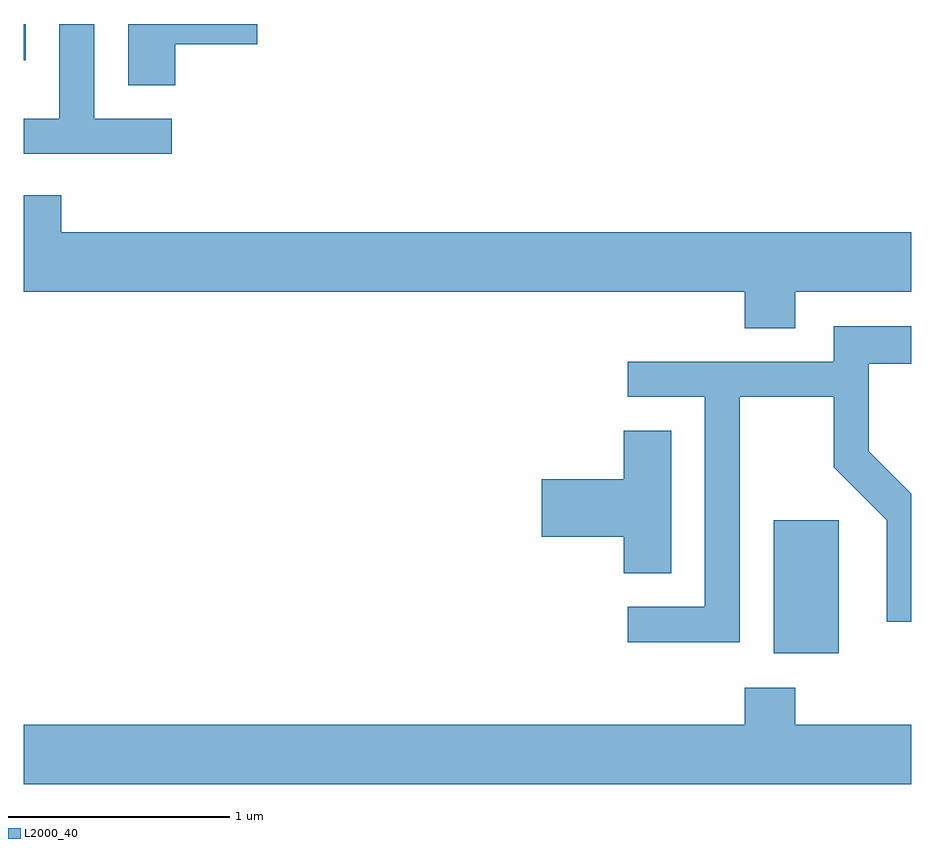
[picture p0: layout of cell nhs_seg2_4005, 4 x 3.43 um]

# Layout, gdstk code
import gdstk
lib = gdstk.Library(unit=1e-6, precision=1e-09)
def R(c, l, rs):  # rectangles x0, y0, x1, y1
    for r in rs: c.add(gdstk.rectangle(r[:2], r[2:], *l))
def P(c, l, *ps):  # polygons
    for p in ps: c.add(gdstk.Polygon(p, *l))
L2000_40 = (2000, 40)

nhs_seg2_4005 = lib.new_cell('nhs_seg2_4005')
R(nhs_seg2_4005, L2000_40, [(306.991,988.966,307.284,989.564), (303.611,991.638,303.619,991.802)])
P(nhs_seg2_4005, L2000_40, [(304.294,991.711),(304.664,991.711),(304.664,991.802),(304.081,991.802),(304.081,991.526),(304.294,991.526)],
  [(304.278,991.374),(303.929,991.374),(303.929,991.802),(303.771,991.802),(303.771,991.374),(303.611,991.374),(303.611,991.216),(304.278,991.216)],
  [(307.089,990.596),(307.611,990.596),(307.611,990.864),(303.779,990.864),(303.779,991.029),(303.611,991.029),(303.611,990.596),(306.861,990.596),(306.861,990.431),(307.089,990.431)],
  [(306.839,990.121),(307.261,990.121),(307.261,989.804),(307.501,989.564),(307.501,989.108),(307.611,989.108),(307.611,989.685),(307.419,989.877),(307.419,990.271),(307.611,990.271),(307.611,990.439),(307.261,990.439),(307.261,990.279),(306.333,990.279),(306.333,990.121),(306.681,990.121),(306.681,989.174),(306.333,989.174),(306.333,989.016),(306.839,989.016)],
  [(306.529,989.969),(306.316,989.969),(306.316,989.749),(305.946,989.749),(305.946,989.491),(306.316,989.491),(306.316,989.326),(306.529,989.326)],
  [(307.611,988.644),(307.089,988.644),(307.089,988.809),(306.861,988.809),(306.861,988.644),(303.611,988.644),(303.611,988.376),(307.611,988.376)])

lib.write_gds('nhs_seg2_4005.gds')
